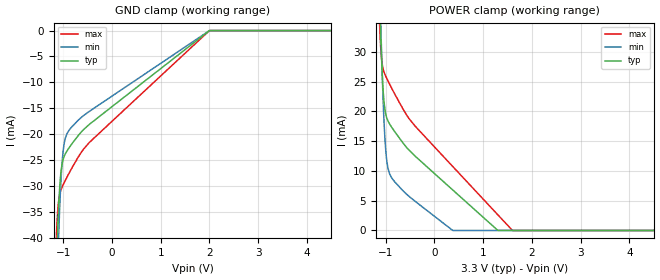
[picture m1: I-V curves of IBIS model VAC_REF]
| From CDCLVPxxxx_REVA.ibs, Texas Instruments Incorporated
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|Pulldown resistor value available only for typ corner, user may use the same
|value across min and max corners as well
|   VAC  Reference Voltage Model   |
[Model]   VAC_REF
Model_type   Terminator
| Signals   VAC_REF
| variable   typ   min   max
C_comp   0.151pF   0.149pF   0.158pF
| Junction Temperature (Ambient temp is 25C typ, 85C min, -40C max)
[Temperature Range]   40C   100C   -40C
[Voltage range]   3.3V   2.375V   3.6V
[GND Clamp]
|   Voltage   I(typ)   I(min)   I(max)
-3.3V     -1.088A    -1.091A    -1.088A
-1.146V   -47.72mA   -55.84mA   -40.84mA
-1.114V   -38.55mA   -45.35mA   -34.88mA
-1.097V   -34.54mA   -40.29mA   -33.06mA
-1.089V   -33.03mA   -38.25mA   -32.5mA
-1.05V    -27.53mA   -29.4mA    -30.85mA
-1.006V   -24.96mA   -23.55mA   -29.86mA
-956.2mV  -23.77mA   -20.75mA   -28.92mA
-874.5mV  -22.56mA   -19.17mA   -27.44mA
-468.3mV  -18.15mA   -15.63mA   -21.65mA
1.999V    -4.541uA   -4.591uA   -5.065uA
6.598V    0A         0A         0A
[POWER Clamp]
|   Voltage   I(typ)   I(min)   I(max)
-3.3V     1.09A      1.087A     1.093A
-1.122V   37.89mA    40.65mA    33.58mA
-1.104V   33.15mA    35.14mA    30.75mA
-1.065V   24.97mA    24.2mA     27.52mA
-1.015V   20.19mA    15.11mA    26.16mA
-973.5mV  18.75mA    11.35mA    25.42mA
-916.6mV  17.81mA    9.411mA    24.49mA
-530mV    13.54mA    5.784mA    18.85mA
375.3mV   6.793mA    0A         10.73mA
1.301V    -5.264pA   0A         2.617mA
1.601V    0A         0A         4.06pA
6.598V    0A         0A         0A
